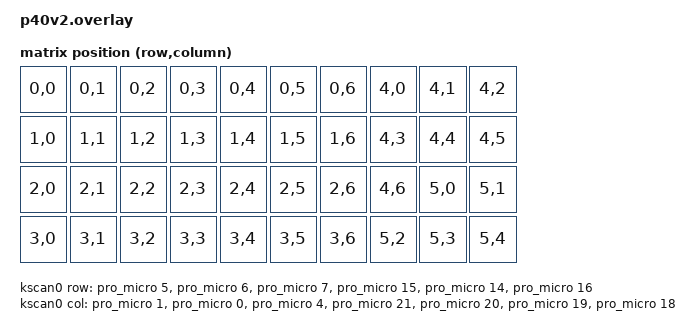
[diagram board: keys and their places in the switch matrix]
/*
 * Copyright (c) 2021 The ZMK Contributors
 *
 * SPDX-License-Identifier: MIT
 */

#include <dt-bindings/zmk/matrix_transform.h>

/ {
	chosen {
                zmk,underglow = &led_strip;
		zmk,kscan = &kscan0;
		zmk,matrix_transform = &default_transform;
	};

	kscan0: kscan_0 {
		compatible = "zmk,kscan-gpio-matrix";
		label = "KSCAN";
		diode-direction = "col2row";

		col-gpios
			= <&pro_micro 1 GPIO_ACTIVE_HIGH>
			, <&pro_micro 0 GPIO_ACTIVE_HIGH>
			, <&pro_micro 4 GPIO_ACTIVE_HIGH>
			, <&pro_micro 21 GPIO_ACTIVE_HIGH>
			, <&pro_micro 20 GPIO_ACTIVE_HIGH>
			, <&pro_micro 19 GPIO_ACTIVE_HIGH>
			, <&pro_micro 18 GPIO_ACTIVE_HIGH>
			;

		row-gpios
			= <&pro_micro 5 (GPIO_ACTIVE_HIGH | GPIO_PULL_DOWN)>
			, <&pro_micro 6 (GPIO_ACTIVE_HIGH | GPIO_PULL_DOWN)>
			, <&pro_micro 7 (GPIO_ACTIVE_HIGH | GPIO_PULL_DOWN)>
			, <&pro_micro 15 (GPIO_ACTIVE_HIGH | GPIO_PULL_DOWN)>
                        , <&pro_micro 14 (GPIO_ACTIVE_HIGH | GPIO_PULL_DOWN)>
                        , <&pro_micro 16 (GPIO_ACTIVE_HIGH | GPIO_PULL_DOWN)>
			;
	};
	 
        default_transform: keymap_transform_0 {
            compatible = "zmk,matrix-transform";
            columns = <7>;
            rows = <6>;
// | MX1  |  MX2  |  MX3  |  MX4  |  MX5  |  MX6  |  MX7  |  MX8  |  MX9  |  MX10 |  
// | MX11 |  MX12 |  MX13 |  MX14 |  MX15 |  MX16 |  MX17 |  MX18 |  MX19 |  MX20 |
// | MX21 |  MX22 |  MX23 |  MX34 |  MX25 |  MX26 |  MX27 |  MX28 |  MX29 |  MX30 | 
// | MX31 |  MX32 |  MX33 |  MX34 |  MX35 |  MX36 |  MX37 |  MX38 |  MX39 |  MX40 | 

            map = <
RC(0,0) RC(0,1) RC(0,2) RC(0,3) RC(0,4) RC(0,5) RC(0,6) RC(4,0) RC(4,1) RC(4,2)
RC(1,0) RC(1,1) RC(1,2) RC(1,3) RC(1,4) RC(1,5) RC(1,6) RC(4,3) RC(4,4) RC(4,5)
RC(2,0) RC(2,1) RC(2,2) RC(2,3) RC(2,4) RC(2,5) RC(2,6) RC(4,6) RC(5,0) RC(5,1)
RC(3,0) RC(3,1) RC(3,2) RC(3,3) RC(3,4) RC(3,5) RC(3,6) RC(5,2) RC(5,3) RC(5,4)
            >;
        };

};
